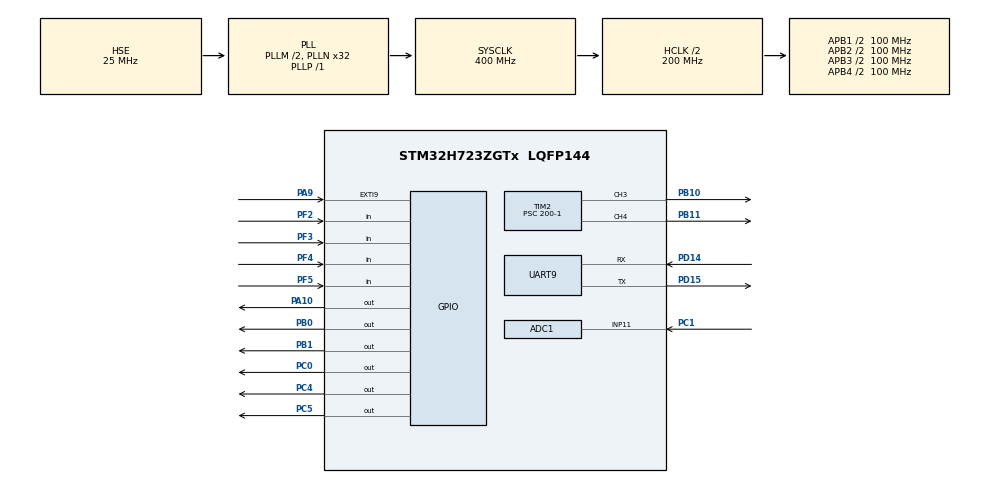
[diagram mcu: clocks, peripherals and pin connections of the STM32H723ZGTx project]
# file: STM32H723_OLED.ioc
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ADC1.Channel-1\#ChannelRegularConversion=ADC_CHANNEL_11
ADC1.ClockPrescaler=ADC_CLOCK_ASYNC_DIV8
ADC1.ContinuousConvMode=DISABLE
ADC1.NbrOfConversion=1
ADC1.NbrOfConversionFlag=1
ADC1.OffsetNumber-1\#ChannelRegularConversion=ADC_OFFSET_NONE
ADC1.OffsetSignedSaturation-1\#ChannelRegularConversion=DISABLE
ADC1.Rank-1\#ChannelRegularConversion=1
ADC1.Resolution=ADC_RESOLUTION_12B
ADC1.SamplingTime-1\#ChannelRegularConversion=ADC_SAMPLETIME_64CYCLES_5
ADC1.master=1
Mcu.Family=STM32H7
Mcu.Name=STM32H723ZGTx
Mcu.Package=LQFP144
NVIC.EXTI9_5_IRQn=true\:0\:0\:false\:false\:true\:true\:true\:true
NVIC.PriorityGroup=NVIC_PRIORITYGROUP_4
NVIC.TIM6_DAC_IRQn=true\:1\:0\:true\:false\:true\:true\:true\:true
NVIC.TIM7_IRQn=true\:2\:0\:true\:false\:true\:true\:true\:true
NVIC.UART9_IRQn=true\:0\:0\:true\:false\:true\:true\:true\:true
PA10.Signal=GPIO_Output
PA13(JTMS/SWDIO).Mode=Serial_Wire
PA13(JTMS/SWDIO).Signal=DEBUG_JTMS-SWDIO
PA14(JTCK/SWCLK).Mode=Serial_Wire
PA14(JTCK/SWCLK).Signal=DEBUG_JTCK-SWCLK
PA9.GPIO_ModeDefaultEXTI=GPIO_MODE_IT_RISING_FALLING
PA9.Signal=GPXTI9
PB0.Signal=GPIO_Output
PB1.Signal=GPIO_Output
PB10.Signal=S_TIM2_CH3
PB11.Signal=S_TIM2_CH4
PC0.Signal=GPIO_Output
PC1.Signal=ADCx_INP11
PC4.Signal=GPIO_Output
PC5.Signal=GPIO_Output
PD14.Mode=Asynchronous
PD14.Signal=UART9_RX
PD15.Mode=Asynchronous
PD15.Signal=UART9_TX
PF2.GPIO_PuPd=GPIO_PULLUP
PF2.Signal=GPIO_Input
PF3.GPIO_PuPd=GPIO_PULLUP
PF3.Signal=GPIO_Input
PF4.GPIO_PuPd=GPIO_PULLUP
PF4.Signal=GPIO_Input
PF5.GPIO_PuPd=GPIO_PULLUP
PF5.Signal=GPIO_Input
PH0-OSC_IN.Mode=HSE-External-Oscillator
PH0-OSC_IN.Signal=RCC_OSC_IN
PH1-OSC_OUT.Mode=HSE-External-Oscillator
PH1-OSC_OUT.Signal=RCC_OSC_OUT
ProjectManager.HeapSize=0x200
ProjectManager.StackSize=0x400
ProjectManager.TargetToolchain=MDK-ARM V5.32
RCC.ADCFreq_Value=100000000
RCC.APB1Freq_Value=100000000
RCC.APB2Freq_Value=100000000
RCC.APB3Freq_Value=100000000
RCC.APB4Freq_Value=100000000
RCC.CortexFreq_Value=400000000
RCC.D1PPRE=RCC_APB3_DIV2
RCC.D2PPRE1=RCC_APB1_DIV2
RCC.D2PPRE2=RCC_APB2_DIV2
RCC.D3PPRE=RCC_APB4_DIV2
RCC.DIVM1=2
RCC.DIVM2=2
RCC.DIVN1=32
RCC.DIVN2=16
RCC.DIVP1=1
RCC.HCLKFreq_Value=200000000
RCC.HPRE=RCC_HCLK_DIV2
RCC.PLL2FRACN=0
RCC.PLL3FRACN=0
RCC.PLLFRACN=0
RCC.PLLSourceVirtual=RCC_PLLSOURCE_HSE
RCC.SYSCLKFreq_VALUE=400000000
RCC.SYSCLKSource=RCC_SYSCLKSOURCE_PLLCLK
RCC.USBFreq_Value=200000000
SH.ADCx_INP11.0=ADC1_INP11,IN11-Single-Ended
SH.S_TIM2_CH3.0=TIM2_CH3,PWM Generation3 CH3
SH.S_TIM2_CH4.0=TIM2_CH4,PWM Generation4 CH4
TIM2.AutoReloadPreload=TIM_AUTORELOAD_PRELOAD_ENABLE
TIM2.Channel-PWM\ Generation3\ CH3=TIM_CHANNEL_3
TIM2.Channel-PWM\ Generation4\ CH4=TIM_CHANNEL_4
TIM2.Period=100-1
TIM2.Prescaler=200-1
TIM2.Pulse-PWM\ Generation4\ CH4=50
TIM23.AutoReloadPreload=TIM_AUTORELOAD_PRELOAD_ENABLE
TIM23.Prescaler=200-1
TIM6.AutoReloadPreload=TIM_AUTORELOAD_PRELOAD_ENABLE
TIM6.Period=10000-1
TIM6.Prescaler=200-1
TIM7.Period=10000-1
TIM7.Prescaler=2000-1
VP_TIM23_VS_ClockSourceINT.Mode=Internal
VP_TIM2_VS_ClockSourceINT.Mode=Internal
VP_TIM6_VS_ClockSourceINT.Mode=Enable_Timer
VP_TIM7_VS_ClockSourceINT.Mode=Enable_Timer
board=custom

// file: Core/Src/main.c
/* USER CODE BEGIN Header */
/**
  ******************************************************************************
  * @file           : main.c
  * @brief          : Main program body
  ******************************************************************************
  * @attention
  *
  * Copyright (c) 2025 STMicroelectronics.
  * All rights reserved.
  *
  * This software is licensed under terms that can be found in the LICENSE file
  * in the root directory of this software component.
  * If no LICENSE file comes with this software, it is provided AS-IS.
  *
  ******************************************************************************
  */
/* USER CODE END Header */
#include "main.h"

/* USER CODE BEGIN Includes */
#include "OLED.h"
#include "Serial.h"
#include "stdio.h"
#include "Delay.h"
#include "Servo.h"
#include "packet_parser.h"
#include "My_Interrupt.h"
#include "fuzzypid.h"
#include "No_MCU_Gray_Sensor.h"
/* USER CODE END Includes */

ADC_HandleTypeDef hadc1;

TIM_HandleTypeDef htim2;
TIM_HandleTypeDef htim6;
TIM_HandleTypeDef htim7;
TIM_HandleTypeDef htim23;

UART_HandleTypeDef huart9;

/* USER CODE BEGIN PV */
#if 1
#if (__ARMCC_VERSION >= 6010050)
__asm(".global __use_no_semihosting\n\t");
__asm(".global __ARM_use_no_argv \n\t");

#else
#pragma import(__use_no_semihosting)

struct __FILE
{
    int handle;

};

#endif

int _ttywrch(int ch)
{
    ch = ch;
    return ch;
}

void _sys_exit(int x)
{
    x = x;
}

char *_sys_command_string(char *cmd, int len)
{
    return NULL;
}

FILE __stdout;

int fputc(int ch, FILE *f) {
    HAL_UART_Transmit(&huart9, (uint8_t *)&ch, 1, HAL_MAX_DELAY);
    return ch;
}
#endif
/* USER CODE END PV */

void SystemClock_Config(void);
static void MX_GPIO_Init(void);
static void MX_TIM2_Init(void);
static void MX_TIM6_Init(void);
static void MX_UART9_Init(void);
static void MX_ADC1_Init(void);
static void MX_TIM7_Init(void);
static void MX_TIM23_Init(void);

int main(void)
{

  /* MCU Configuration--------------------------------------------------------*/

  /* Reset of all peripherals, Initializes the Flash interface and the Systick. */
  HAL_Init();

  /* Configure the system clock */
  SystemClock_Config();

  /* Initialize all configured peripherals */
  MX_GPIO_Init();
  MX_TIM2_Init();
  MX_TIM6_Init();
  MX_UART9_Init();
  MX_ADC1_Init();
  MX_TIM7_Init();
  MX_TIM23_Init();
  /* USER CODE BEGIN 2 */
  DWT_Init();
  /********超声�????*******/
  HAL_TIM_Base_Init(&htim23);//超声波计数，分辨�????1us
  HAL_TIM_Base_Start(&htim23);
  HAL_NVIC_EnableIRQ(EXTI9_5_IRQn);
  /*******Onto**********/
  HAL_TIM_PWM_Start(&htim2, TIM_CHANNEL_4);//y
  Servo_Init(&htim2,TIM_CHANNEL_3,TIM_CHANNEL_4);
  //串口
  // Delay_ms(500);
  // UART_StartReceiveIT();
  // Packet_t received_packet;
  /*OLED_Init*/
  OLED_Init();
  OLED_Clear();
  Delay_ms(10);

  //无MCU八路灰度
  Init_ADC(&hadc1);
  GraySensor_Init();
  GraySensor_SetFilter(FILTER_MOVING_AVG, 3);
  //测试
   HAL_ADC_Start(&hadc1);
    if(HAL_ADC_PollForConversion(&hadc1, 100) == HAL_OK) {
        OLED_ShowString(0,0,"ADCsuccess",OLED_8X16);
        OLED_ShowNum(0,1*16,HAL_ADC_GetValue(&hadc1),4,OLED_8X16);
    } else {
        OLED_ShowString(0,0,"ADCfail",OLED_8X16);
    }
    HAL_ADC_Stop(&hadc1);
    OLED_Update();

  //中断（最后初始化�??????
  Delay_ms(1000);
  OLED_Clear();
  OLED_Update();
  HAL_TIM_Base_Start_IT(&htim6);
  HAL_TIM_Base_Start_IT(&htim7);

  /* USER CODE END 2 */

  /* Infinite loop */
  /* USER CODE BEGIN WHILE */
  int16_t Key_index = 0;

  init_all_pid_new();
  /*******获取目标点位(start)*******/
  //等待串口数据
  while (1)
  {
    /* USER CODE END WHILE */

    /* USER CODE BEGIN 3 */
    OLED_Clear();
    OLED_ShowNum(0, 3*16, uwTick, 8,OLED_8X16);
    /**********按键(start)*************/
    for(int i = 0;i<KEY_NUM;i++){
          if(keys[i].short_press_flag==1){
            switch (i)
            {
            case 0 :
              onto_duty+=30;
              keys[i].short_press_flag = KEY_RELEASED;

              break;
            case 1 :
              onto_duty-=30;
              keys[i].short_press_flag = KEY_RELEASED;

              break;
            case 2 :
              target_point.y-=10;
              keys[i].short_press_flag = KEY_RELEASED;

              break;
          case 3:
              target_point.y+=10;
              keys[i].short_press_flag = KEY_RELEASED;

              break;
            default:
              break;
            }

          }
    }

    //读取ADC数据
    GraySensor_GetFilteredData(queueData);
        /* 处理队列数据 */
    OLED_ShowFloatNum(0,0,queueData[0],4,3,OLED_6X8);
    OLED_ShowFloatNum(0,1*8,queueData[1],4,3,OLED_6X8);
    OLED_ShowFloatNum(0,2*8,queueData[2],4,3,OLED_6X8);
    OLED_ShowFloatNum(0,3*8,queueData[3],4,3,OLED_6X8);
    OLED_ShowFloatNum(0,4*8,queueData[4],4,3,OLED_6X8);
    OLED_ShowFloatNum(8*8,0,queueData[5],4,3,OLED_6X8);
    OLED_ShowFloatNum(8*8,1*8,queueData[6],4,3,OLED_6X8);
    OLED_ShowFloatNum(8*8,2*8,queueData[7],4,3,OLED_6X8);
    OLED_ShowFloatNum(8*8,3*8,distance_cm,4,3,OLED_6X8);
    OLED_ShowNum(8*8,4*8,__HAL_TIM_GET_COUNTER(&htim23),8,OLED_6X8);

    /**********按键(end)*************/
    __HAL_TIM_SET_COMPARE(&htim2,TIM_CHANNEL_4,50);
    //OLED_ShowNum(0,1*16,onto_duty,4,OLED_8X16);
    OLED_Update();
  }
  /* USER CODE END 3 */
}

void SystemClock_Config(void)
{
  RCC_OscInitTypeDef RCC_OscInitStruct = {0};
  RCC_ClkInitTypeDef RCC_ClkInitStruct = {0};

  /** Supply configuration update enable
  */
  HAL_PWREx_ConfigSupply(PWR_LDO_SUPPLY);

  /** Configure the main internal regulator output voltage
  */
  __HAL_PWR_VOLTAGESCALING_CONFIG(PWR_REGULATOR_VOLTAGE_SCALE1);

  while(!__HAL_PWR_GET_FLAG(PWR_FLAG_VOSRDY)) {}

  /** Initializes the RCC Oscillators according to the specified parameters
  * in the RCC_OscInitTypeDef structure.
  */
  RCC_OscInitStruct.OscillatorType = RCC_OSCILLATORTYPE_HSE;
  RCC_OscInitStruct.HSEState = RCC_HSE_ON;
  RCC_OscInitStruct.PLL.PLLState = RCC_PLL_ON;
  RCC_OscInitStruct.PLL.PLLSource = RCC_PLLSOURCE_HSE;
  RCC_OscInitStruct.PLL.PLLM = 2;
  RCC_OscInitStruct.PLL.PLLN = 32;
  RCC_OscInitStruct.PLL.PLLP = 1;
  RCC_OscInitStruct.PLL.PLLQ = 2;
  RCC_OscInitStruct.PLL.PLLR = 2;
  RCC_OscInitStruct.PLL.PLLRGE = RCC_PLL1VCIRANGE_3;
  RCC_OscInitStruct.PLL.PLLVCOSEL = RCC_PLL1VCOWIDE;
  RCC_OscInitStruct.PLL.PLLFRACN = 0;
  if (HAL_RCC_OscConfig(&RCC_OscInitStruct) != HAL_OK)
  {
    Error_Handler();
  }

  /** Initializes the CPU, AHB and APB buses clocks
  */
  RCC_ClkInitStruct.ClockType = RCC_CLOCKTYPE_HCLK|RCC_CLOCKTYPE_SYSCLK
                              |RCC_CLOCKTYPE_PCLK1|RCC_CLOCKTYPE_PCLK2
                              |RCC_CLOCKTYPE_D3PCLK1|RCC_CLOCKTYPE_D1PCLK1;
  RCC_ClkInitStruct.SYSCLKSource = RCC_SYSCLKSOURCE_PLLCLK;
  RCC_ClkInitStruct.SYSCLKDivider = RCC_SYSCLK_DIV1;
  RCC_ClkInitStruct.AHBCLKDivider = RCC_HCLK_DIV2;
  RCC_ClkInitStruct.APB3CLKDivider = RCC_APB3_DIV2;
  RCC_ClkInitStruct.APB1CLKDivider = RCC_APB1_DIV2;
  RCC_ClkInitStruct.APB2CLKDivider = RCC_APB2_DIV2;
  RCC_ClkInitStruct.APB4CLKDivider = RCC_APB4_DIV2;

  if (HAL_RCC_ClockConfig(&RCC_ClkInitStruct, FLASH_LATENCY_2) != HAL_OK)
  {
    Error_Handler();
  }
}

static void MX_ADC1_Init(void)
{

  ADC_MultiModeTypeDef multimode = {0};
  ADC_ChannelConfTypeDef sConfig = {0};

  /** Common config
  */
  hadc1.Instance = ADC1;
  hadc1.Init.ClockPrescaler = ADC_CLOCK_ASYNC_DIV8;
  hadc1.Init.Resolution = ADC_RESOLUTION_12B;
  hadc1.Init.ScanConvMode = ADC_SCAN_DISABLE;
  hadc1.Init.EOCSelection = ADC_EOC_SINGLE_CONV;
  hadc1.Init.LowPowerAutoWait = DISABLE;
  hadc1.Init.ContinuousConvMode = DISABLE;
  hadc1.Init.NbrOfConversion = 1;
  hadc1.Init.DiscontinuousConvMode = DISABLE;
  hadc1.Init.ExternalTrigConv = ADC_SOFTWARE_START;
  hadc1.Init.ExternalTrigConvEdge = ADC_EXTERNALTRIGCONVEDGE_NONE;
  hadc1.Init.ConversionDataManagement = ADC_CONVERSIONDATA_DR;
  hadc1.Init.Overrun = ADC_OVR_DATA_PRESERVED;
  hadc1.Init.LeftBitShift = ADC_LEFTBITSHIFT_NONE;
  hadc1.Init.OversamplingMode = DISABLE;
  if (HAL_ADC_Init(&hadc1) != HAL_OK)
  {
    Error_Handler();
  }

  /** Configure the ADC multi-mode
  */
  multimode.Mode = ADC_MODE_INDEPENDENT;
  if (HAL_ADCEx_MultiModeConfigChannel(&hadc1, &multimode) != HAL_OK)
  {
    Error_Handler();
  }

  /** Configure Regular Channel
  */
  sConfig.Channel = ADC_CHANNEL_11;
  sConfig.Rank = ADC_REGULAR_RANK_1;
  sConfig.SamplingTime = ADC_SAMPLETIME_64CYCLES_5;
  sConfig.SingleDiff = ADC_SINGLE_ENDED;
  sConfig.OffsetNumber = ADC_OFFSET_NONE;
  sConfig.Offset = 0;
  sConfig.OffsetSignedSaturation = DISABLE;
  if (HAL_ADC_ConfigChannel(&hadc1, &sConfig) != HAL_OK)
  {
    Error_Handler();
  }

}

static void MX_TIM2_Init(void)
{

  TIM_ClockConfigTypeDef sClockSourceConfig = {0};
  TIM_MasterConfigTypeDef sMasterConfig = {0};
  TIM_OC_InitTypeDef sConfigOC = {0};

  htim2.Instance = TIM2;
  htim2.Init.Prescaler = 200-1;
  htim2.Init.CounterMode = TIM_COUNTERMODE_UP;
  htim2.Init.Period = 100-1;
  htim2.Init.ClockDivision = TIM_CLOCKDIVISION_DIV1;
  htim2.Init.AutoReloadPreload = TIM_AUTORELOAD_PRELOAD_ENABLE;
  if (HAL_TIM_Base_Init(&htim2) != HAL_OK)
  {
    Error_Handler();
  }
  sClockSourceConfig.ClockSource = TIM_CLOCKSOURCE_INTERNAL;
  if (HAL_TIM_ConfigClockSource(&htim2, &sClockSourceConfig) != HAL_OK)
  {
    Error_Handler();
  }
  if (HAL_TIM_PWM_Init(&htim2) != HAL_OK)
  {
    Error_Handler();
  }
  sMasterConfig.MasterOutputTrigger = TIM_TRGO_RESET;
  sMasterConfig.MasterSlaveMode = TIM_MASTERSLAVEMODE_DISABLE;
  if (HAL_TIMEx_MasterConfigSynchronization(&htim2, &sMasterConfig) != HAL_OK)
  {
    Error_Handler();
  }
  sConfigOC.OCMode = TIM_OCMODE_PWM1;
  sConfigOC.Pulse = 0;
  sConfigOC.OCPolarity = TIM_OCPOLARITY_HIGH;
  sConfigOC.OCFastMode = TIM_OCFAST_DISABLE;
  if (HAL_TIM_PWM_ConfigChannel(&htim2, &sConfigOC, TIM_CHANNEL_3) != HAL_OK)
  {
    Error_Handler();
  }
  sConfigOC.Pulse = 50;
  if (HAL_TIM_PWM_ConfigChannel(&htim2, &sConfigOC, TIM_CHANNEL_4) != HAL_OK)
  {
    Error_Handler();
  }
  HAL_TIM_MspPostInit(&htim2);

}

static void MX_TIM6_Init(void)
{

  TIM_MasterConfigTypeDef sMasterConfig = {0};

  htim6.Instance = TIM6;
  htim6.Init.Prescaler = 200-1;
  htim6.Init.CounterMode = TIM_COUNTERMODE_UP;
  htim6.Init.Period = 10000-1;
  htim6.Init.AutoReloadPreload = TIM_AUTORELOAD_PRELOAD_ENABLE;
  if (HAL_TIM_Base_Init(&htim6) != HAL_OK)
  {
    Error_Handler();
  }
  sMasterConfig.MasterOutputTrigger = TIM_TRGO_RESET;
  sMasterConfig.MasterSlaveMode = TIM_MASTERSLAVEMODE_DISABLE;
  if (HAL_TIMEx_MasterConfigSynchronization(&htim6, &sMasterConfig) != HAL_OK)
  {
    Error_Handler();
  }

}

static void MX_TIM7_Init(void)
{

  TIM_MasterConfigTypeDef sMasterConfig = {0};

  htim7.Instance = TIM7;
  htim7.Init.Prescaler = 2000-1;
  htim7.Init.CounterMode = TIM_COUNTERMODE_UP;
  htim7.Init.Period = 10000-1;
  htim7.Init.AutoReloadPreload = TIM_AUTORELOAD_PRELOAD_DISABLE;
  if (HAL_TIM_Base_Init(&htim7) != HAL_OK)
  {
    Error_Handler();
  }
  sMasterConfig.MasterOutputTrigger = TIM_TRGO_RESET;
  sMasterConfig.MasterSlaveMode = TIM_MASTERSLAVEMODE_DISABLE;
  if (HAL_TIMEx_MasterConfigSynchronization(&htim7, &sMasterConfig) != HAL_OK)
  {
    Error_Handler();
  }

}

static void MX_TIM23_Init(void)
{

  TIM_ClockConfigTypeDef sClockSourceConfig = {0};
  TIM_MasterConfigTypeDef sMasterConfig = {0};

  htim23.Instance = TIM23;
  htim23.Init.Prescaler = 200-1;
  htim23.Init.CounterMode = TIM_COUNTERMODE_UP;
  htim23.Init.Period = 4294967295;
  htim23.Init.ClockDivision = TIM_CLOCKDIVISION_DIV1;
  htim23.Init.AutoReloadPreload = TIM_AUTORELOAD_PRELOAD_ENABLE;
  if (HAL_TIM_Base_Init(&htim23) != HAL_OK)
  {
    Error_Handler();
  }
  sClockSourceConfig.ClockSource = TIM_CLOCKSOURCE_INTERNAL;
  if (HAL_TIM_ConfigClockSource(&htim23, &sClockSourceConfig) != HAL_OK)
  {
    Error_Handler();
  }
  sMasterConfig.MasterOutputTrigger = TIM_TRGO_RESET;
  sMasterConfig.MasterSlaveMode = TIM_MASTERSLAVEMODE_DISABLE;
  if (HAL_TIMEx_MasterConfigSynchronization(&htim23, &sMasterConfig) != HAL_OK)
  {
    Error_Handler();
  }

}

static void MX_UART9_Init(void)
{

  huart9.Instance = UART9;
  huart9.Init.BaudRate = 115200;
  huart9.Init.WordLength = UART_WORDLENGTH_8B;
  huart9.Init.StopBits = UART_STOPBITS_1;
  huart9.Init.Parity = UART_PARITY_NONE;
  huart9.Init.Mode = UART_MODE_TX_RX;
  huart9.Init.HwFlowCtl = UART_HWCONTROL_NONE;
  huart9.Init.OverSampling = UART_OVERSAMPLING_16;
  huart9.Init.OneBitSampling = UART_ONE_BIT_SAMPLE_DISABLE;
  huart9.Init.ClockPrescaler = UART_PRESCALER_DIV1;
  huart9.AdvancedInit.AdvFeatureInit = UART_ADVFEATURE_NO_INIT;
  if (HAL_UART_Init(&huart9) != HAL_OK)
  {
    Error_Handler();
  }
  if (HAL_UARTEx_SetTxFifoThreshold(&huart9, UART_TXFIFO_THRESHOLD_1_8) != HAL_OK)
  {
    Error_Handler();
  }
  if (HAL_UARTEx_SetRxFifoThreshold(&huart9, UART_RXFIFO_THRESHOLD_1_8) != HAL_OK)
  {
    Error_Handler();
  }
  if (HAL_UARTEx_DisableFifoMode(&huart9) != HAL_OK)
  {
    Error_Handler();
  }

}

static void MX_GPIO_Init(void)
{
  GPIO_InitTypeDef GPIO_InitStruct = {0};

  /* GPIO Ports Clock Enable */
  __HAL_RCC_GPIOF_CLK_ENABLE();
  __HAL_RCC_GPIOH_CLK_ENABLE();
  __HAL_RCC_GPIOC_CLK_ENABLE();
  __HAL_RCC_GPIOB_CLK_ENABLE();
  __HAL_RCC_GPIOD_CLK_ENABLE();
  __HAL_RCC_GPIOA_CLK_ENABLE();

  /*Configure GPIO pin Output Level */
  HAL_GPIO_WritePin(GPIOC, GPIO_PIN_0|GPIO_PIN_4|GPIO_PIN_5, GPIO_PIN_RESET);

  /*Configure GPIO pin Output Level */
  HAL_GPIO_WritePin(GPIOB, GPIO_PIN_0|GPIO_PIN_1, GPIO_PIN_RESET);

  /*Configure GPIO pin Output Level */
  HAL_GPIO_WritePin(GPIOA, GPIO_PIN_10, GPIO_PIN_RESET);

  /*Configure GPIO pins : PF2 PF3 PF4 PF5 */
  GPIO_InitStruct.Pin = GPIO_PIN_2|GPIO_PIN_3|GPIO_PIN_4|GPIO_PIN_5;
  GPIO_InitStruct.Mode = GPIO_MODE_INPUT;
  GPIO_InitStruct.Pull = GPIO_PULLUP;
  HAL_GPIO_Init(GPIOF, &GPIO_InitStruct);

  /*Configure GPIO pins : PC0 PC4 PC5 */
  GPIO_InitStruct.Pin = GPIO_PIN_0|GPIO_PIN_4|GPIO_PIN_5;
  GPIO_InitStruct.Mode = GPIO_MODE_OUTPUT_PP;
  GPIO_InitStruct.Pull = GPIO_NOPULL;
  GPIO_InitStruct.Speed = GPIO_SPEED_FREQ_LOW;
  HAL_GPIO_Init(GPIOC, &GPIO_InitStruct);

  /*Configure GPIO pins : PB0 PB1 */
  GPIO_InitStruct.Pin = GPIO_PIN_0|GPIO_PIN_1;
  GPIO_InitStruct.Mode = GPIO_MODE_OUTPUT_PP;
  GPIO_InitStruct.Pull = GPIO_NOPULL;
  GPIO_InitStruct.Speed = GPIO_SPEED_FREQ_LOW;
  HAL_GPIO_Init(GPIOB, &GPIO_InitStruct);

  /*Configure GPIO pin : PA9 */
  GPIO_InitStruct.Pin = GPIO_PIN_9;
  GPIO_InitStruct.Mode = GPIO_MODE_IT_RISING_FALLING;
  GPIO_InitStruct.Pull = GPIO_NOPULL;
  HAL_GPIO_Init(GPIOA, &GPIO_InitStruct);

  /*Configure GPIO pin : PA10 */
  GPIO_InitStruct.Pin = GPIO_PIN_10;
  GPIO_InitStruct.Mode = GPIO_MODE_OUTPUT_PP;
  GPIO_InitStruct.Pull = GPIO_NOPULL;
  GPIO_InitStruct.Speed = GPIO_SPEED_FREQ_LOW;
  HAL_GPIO_Init(GPIOA, &GPIO_InitStruct);

  /* EXTI interrupt init*/
  HAL_NVIC_SetPriority(EXTI9_5_IRQn, 0, 0);
  HAL_NVIC_EnableIRQ(EXTI9_5_IRQn);

}

void Error_Handler(void)
{
  __disable_irq();
  while (1)
  {
  }
}
